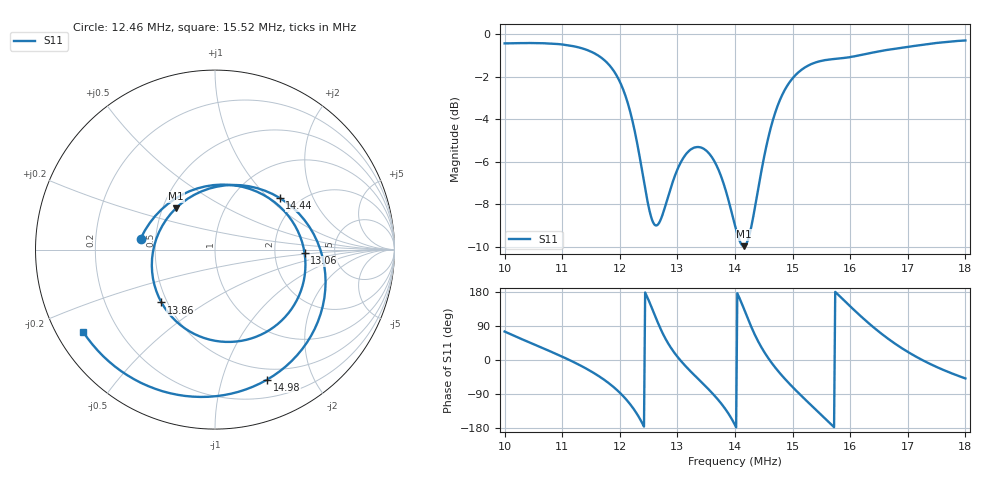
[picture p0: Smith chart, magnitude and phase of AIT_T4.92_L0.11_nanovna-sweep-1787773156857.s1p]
! S11 from AIT_T4.92_L0.11_nanovna-sweep-1787773156857.txt, converted by the rf-network-modeller history importer
# HZ S RI R 50
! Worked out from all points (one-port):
!   401 points, 10 MHz to 18 MHz, reference 50 ohm
!   lowest |S11| = -10.0 dB at 14.16 MHz (marker M1), VSWR 1.93, Z = 29.3 + j15 ohm
!   |S11| at or under -10 dB: nowhere
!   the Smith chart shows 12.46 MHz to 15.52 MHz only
!   S11 on the Smith chart (normalised r, x): 12.46 MHz: 0.41, +0.06; 13.06 MHz: 2.99, -0.16; 13.86 MHz: 0.47, -0.33; 14.44 MHz: 1.60, +1.17; 14.98 MHz: 0.38, -1.41; 15.52 MHz: 0.08, -0.28
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1e7  0.2443 0.9186
1.054e7  0.7364 0.6031
1.1e7  0.9337 0.1444
1.152e7  0.7715 -0.4756
1.2e7  0.0503 -0.7709
1.226e7  -0.4062 -0.4285
1.246e7  -0.4141 0.0617
1.27e7  0.0326 0.3621
1.3e7  0.4745 0.0727
1.306e7  0.4991 -0.0202
1.35e7  0.1737 -0.5028
1.386e7  -0.2985 -0.2942
1.4e7  -0.3507 -0.052
1.416e7  -0.2174 0.2308
1.444e7  0.3615 0.2873
1.47e7  0.6142 -0.2257
1.498e7  0.2897 -0.7249
1.5e7  0.2517 -0.7453
1.524e7  -0.2505 -0.8001
1.552e7  -0.7344 -0.4586
1.576e7  -0.8732 0.0478
1.6e7  -0.6919 0.5473
1.622e7  -0.3148 0.8371
1.644e7  0.1284 0.8979
1.672e7  0.6003 0.6982
1.7e7  0.8682 0.3405
1.742e7  0.9261 -0.2099
1.8e7  0.6383 -0.7246
